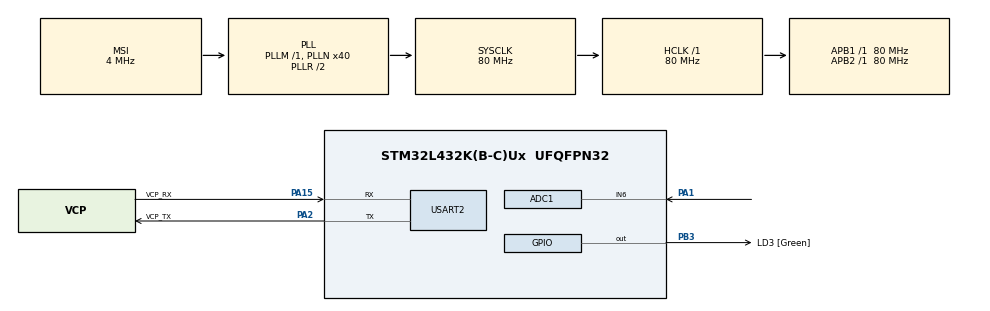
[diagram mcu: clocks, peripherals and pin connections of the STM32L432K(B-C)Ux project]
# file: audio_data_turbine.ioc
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ADC1.Channel-0\#ChannelRegularConversion=ADC_CHANNEL_6
ADC1.NbrOfConversionFlag=1
ADC1.OffsetNumber-0\#ChannelRegularConversion=ADC_OFFSET_NONE
ADC1.Rank-0\#ChannelRegularConversion=1
ADC1.SamplingTime-0\#ChannelRegularConversion=ADC_SAMPLETIME_2CYCLES_5
ADC1.master=1
Mcu.Family=STM32L4
Mcu.Name=STM32L432K(B-C)Ux
Mcu.Package=UFQFPN32
NVIC.PriorityGroup=NVIC_PRIORITYGROUP_4
PA0.GPIO_Label=MCO [High speed clock in]
PA0.Mode=HSE-External-Clock-Source-for-LittleOrca
PA0.Signal=RCC_CK_IN
PA1.Signal=ADCx_IN6
PA13\ (JTMS-SWDIO).GPIO_Label=SWDIO
PA13\ (JTMS-SWDIO).Mode=Serial_Wire
PA13\ (JTMS-SWDIO).Signal=SYS_JTMS-SWDIO
PA14\ (JTCK-SWCLK).GPIO_Label=SWCLK
PA14\ (JTCK-SWCLK).Mode=Serial_Wire
PA14\ (JTCK-SWCLK).Signal=SYS_JTCK-SWCLK
PA15\ (JTDI).GPIO_Label=VCP_RX
PA15\ (JTDI).Mode=Asynchronous
PA15\ (JTDI).Signal=USART2_RX
PA2.GPIO_Label=VCP_TX
PA2.Mode=Asynchronous
PA2.Signal=USART2_TX
PB3\ (JTDO-TRACESWO).GPIO_Label=LD3 [Green]
PB3\ (JTDO-TRACESWO).Signal=GPIO_Output
PC14-OSC32_IN\ (PC14).Mode=LSE-External-Oscillator
PC14-OSC32_IN\ (PC14).Signal=RCC_OSC32_IN
PC15-OSC32_OUT\ (PC15).Mode=LSE-External-Oscillator
PC15-OSC32_OUT\ (PC15).Signal=RCC_OSC32_OUT
ProjectManager.HeapSize=0x200
ProjectManager.StackSize=0x400
ProjectManager.TargetToolchain=STM32CubeIDE
RCC.ADCFreq_Value=32000000
RCC.AHBFreq_Value=80000000
RCC.APB1Freq_Value=80000000
RCC.APB1TimFreq_Value=80000000
RCC.APB2Freq_Value=80000000
RCC.APB2TimFreq_Value=80000000
RCC.CortexFreq_Value=80000000
RCC.HCLKFreq_Value=80000000
RCC.HSE_VALUE=8000000
RCC.HSI16_VALUE=16000000
RCC.HSI48_VALUE=48000000
RCC.HSI_VALUE=16000000
RCC.MSI_VALUE=4000000
RCC.PLLMUL=RCC_PLLMUL_4
RCC.PLLN=40
RCC.PLLSAI1N=16
RCC.SYSCLKFreq_VALUE=80000000
RCC.SYSCLKSource=RCC_SYSCLKSOURCE_PLLCLK
RCC.USBFreq_Value=32000000
RCC.VCOOutputFreq_Value=160000000
SH.ADCx_IN6.0=ADC1_IN6,IN6-Single-Ended
USART2.VirtualMode-Asynchronous=VM_ASYNC
board=NUCLEO-L432KC

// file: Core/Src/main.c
/* USER CODE BEGIN Header */
/**
  ******************************************************************************
  * @file           : main.c
  * @brief          : Main program body
  ******************************************************************************
  * @attention
  *
  * Copyright (c) 2024 STMicroelectronics.
  * All rights reserved.
  *
  * This software is licensed under terms that can be found in the LICENSE file
  * in the root directory of this software component.
  * If no LICENSE file comes with this software, it is provided AS-IS.
  *
  ******************************************************************************
  */
/* USER CODE END Header */
#include "main.h"

/* USER CODE BEGIN Includes */
#include "stdio.h"
/* USER CODE END Includes */

/* USER CODE BEGIN PM */
#define BUFFER_SIZE 256
#define AXIS        1
/* USER CODE END PM */

ADC_HandleTypeDef hadc1;

UART_HandleTypeDef huart2;

/* USER CODE BEGIN PV */
float audio;
float audio_buffer[BUFFER_SIZE * AXIS] = {0};
/* USER CODE END PV */

void SystemClock_Config(void);
static void MX_GPIO_Init(void);
static void MX_USART2_UART_Init(void);
static void MX_ADC1_Init(void);
/* USER CODE BEGIN PFP */
void fill_audio_buffer();
void Log();
/* USER CODE END PFP */

/* USER CODE BEGIN 0 */
void HAL_ADC_ConvCpltCallback(ADC_HandleTypeDef *hadc){
	audio = HAL_ADC_GetValue(&hadc1);
}
/* USER CODE END 0 */

int main(void)
{

  /* MCU Configuration--------------------------------------------------------*/

  /* Reset of all peripherals, Initializes the Flash interface and the Systick. */
  HAL_Init();

  /* Configure the system clock */
  SystemClock_Config();

  /* Initialize all configured peripherals */
  MX_GPIO_Init();
  MX_USART2_UART_Init();
  MX_ADC1_Init();
  /* USER CODE BEGIN 2 */
HAL_ADC_Start_IT(&hadc1);
  /* USER CODE END 2 */

/* Infinite loop */
  /* USER CODE BEGIN WHILE */
  while (1)
  {
	  Log();
    /* USER CODE END WHILE */

  }
}

void SystemClock_Config(void)
{
  RCC_OscInitTypeDef RCC_OscInitStruct = {0};
  RCC_ClkInitTypeDef RCC_ClkInitStruct = {0};

  /** Configure the main internal regulator output voltage
  */
  if (HAL_PWREx_ControlVoltageScaling(PWR_REGULATOR_VOLTAGE_SCALE1) != HAL_OK)
  {
    Error_Handler();
  }

  /** Configure LSE Drive Capability
  */
  HAL_PWR_EnableBkUpAccess();
  __HAL_RCC_LSEDRIVE_CONFIG(RCC_LSEDRIVE_LOW);

  /** Initializes the RCC Oscillators according to the specified parameters
  * in the RCC_OscInitTypeDef structure.
  */
  RCC_OscInitStruct.OscillatorType = RCC_OSCILLATORTYPE_LSE|RCC_OSCILLATORTYPE_MSI;
  RCC_OscInitStruct.LSEState = RCC_LSE_ON;
  RCC_OscInitStruct.MSIState = RCC_MSI_ON;
  RCC_OscInitStruct.MSICalibrationValue = 0;
  RCC_OscInitStruct.MSIClockRange = RCC_MSIRANGE_6;
  RCC_OscInitStruct.PLL.PLLState = RCC_PLL_ON;
  RCC_OscInitStruct.PLL.PLLSource = RCC_PLLSOURCE_MSI;
  RCC_OscInitStruct.PLL.PLLM = 1;
  RCC_OscInitStruct.PLL.PLLN = 40;
  RCC_OscInitStruct.PLL.PLLP = RCC_PLLP_DIV7;
  RCC_OscInitStruct.PLL.PLLQ = RCC_PLLQ_DIV2;
  RCC_OscInitStruct.PLL.PLLR = RCC_PLLR_DIV2;
  if (HAL_RCC_OscConfig(&RCC_OscInitStruct) != HAL_OK)
  {
    Error_Handler();
  }

  /** Initializes the CPU, AHB and APB buses clocks
  */
  RCC_ClkInitStruct.ClockType = RCC_CLOCKTYPE_HCLK|RCC_CLOCKTYPE_SYSCLK
                              |RCC_CLOCKTYPE_PCLK1|RCC_CLOCKTYPE_PCLK2;
  RCC_ClkInitStruct.SYSCLKSource = RCC_SYSCLKSOURCE_PLLCLK;
  RCC_ClkInitStruct.AHBCLKDivider = RCC_SYSCLK_DIV1;
  RCC_ClkInitStruct.APB1CLKDivider = RCC_HCLK_DIV1;
  RCC_ClkInitStruct.APB2CLKDivider = RCC_HCLK_DIV1;

  if (HAL_RCC_ClockConfig(&RCC_ClkInitStruct, FLASH_LATENCY_4) != HAL_OK)
  {
    Error_Handler();
  }

  /** Enable MSI Auto calibration
  */
  HAL_RCCEx_EnableMSIPLLMode();
}

static void MX_ADC1_Init(void)
{

  ADC_ChannelConfTypeDef sConfig = {0};

  /** Common config
  */
  hadc1.Instance = ADC1;
  hadc1.Init.ClockPrescaler = ADC_CLOCK_ASYNC_DIV16;
  hadc1.Init.Resolution = ADC_RESOLUTION_12B;
  hadc1.Init.DataAlign = ADC_DATAALIGN_RIGHT;
  hadc1.Init.ScanConvMode = ADC_SCAN_DISABLE;
  hadc1.Init.EOCSelection = ADC_EOC_SINGLE_CONV;
  hadc1.Init.LowPowerAutoWait = DISABLE;
  hadc1.Init.ContinuousConvMode = ENABLE;
  hadc1.Init.NbrOfConversion = 1;
  hadc1.Init.DiscontinuousConvMode = DISABLE;
  hadc1.Init.ExternalTrigConv = ADC_SOFTWARE_START;
  hadc1.Init.ExternalTrigConvEdge = ADC_EXTERNALTRIGCONVEDGE_NONE;
  hadc1.Init.DMAContinuousRequests = DISABLE;
  hadc1.Init.Overrun = ADC_OVR_DATA_PRESERVED;
  hadc1.Init.OversamplingMode = DISABLE;
  if (HAL_ADC_Init(&hadc1) != HAL_OK)
  {
    Error_Handler();
  }

  /** Configure Regular Channel
  */
  sConfig.Channel = ADC_CHANNEL_6;
  sConfig.Rank = ADC_REGULAR_RANK_1;
  sConfig.SamplingTime = ADC_SAMPLETIME_2CYCLES_5;
  sConfig.SingleDiff = ADC_SINGLE_ENDED;
  sConfig.OffsetNumber = ADC_OFFSET_NONE;
  sConfig.Offset = 0;
  if (HAL_ADC_ConfigChannel(&hadc1, &sConfig) != HAL_OK)
  {
    Error_Handler();
  }

}

static void MX_USART2_UART_Init(void)
{

  huart2.Instance = USART2;
  huart2.Init.BaudRate = 115200;
  huart2.Init.WordLength = UART_WORDLENGTH_8B;
  huart2.Init.StopBits = UART_STOPBITS_1;
  huart2.Init.Parity = UART_PARITY_NONE;
  huart2.Init.Mode = UART_MODE_TX_RX;
  huart2.Init.HwFlowCtl = UART_HWCONTROL_NONE;
  huart2.Init.OverSampling = UART_OVERSAMPLING_16;
  huart2.Init.OneBitSampling = UART_ONE_BIT_SAMPLE_DISABLE;
  huart2.AdvancedInit.AdvFeatureInit = UART_ADVFEATURE_NO_INIT;
  if (HAL_UART_Init(&huart2) != HAL_OK)
  {
    Error_Handler();
  }

}

static void MX_GPIO_Init(void)
{
  GPIO_InitTypeDef GPIO_InitStruct = {0};

  /* GPIO Ports Clock Enable */
  __HAL_RCC_GPIOC_CLK_ENABLE();
  __HAL_RCC_GPIOA_CLK_ENABLE();
  __HAL_RCC_GPIOB_CLK_ENABLE();

  /*Configure GPIO pin Output Level */
  HAL_GPIO_WritePin(LD3_GPIO_Port, LD3_Pin, GPIO_PIN_RESET);

  /*Configure GPIO pin : LD3_Pin */
  GPIO_InitStruct.Pin = LD3_Pin;
  GPIO_InitStruct.Mode = GPIO_MODE_OUTPUT_PP;
  GPIO_InitStruct.Pull = GPIO_NOPULL;
  GPIO_InitStruct.Speed = GPIO_SPEED_FREQ_LOW;
  HAL_GPIO_Init(LD3_GPIO_Port, &GPIO_InitStruct);

}

/* USER CODE BEGIN 4 */
void fill_audio_buffer(){
	for(int i = 0; i < BUFFER_SIZE; i++){
		audio_buffer[i * AXIS] = audio;
		HAL_Delay(3);
	}
}

void Log(){
	fill_audio_buffer();
	for(int i = 0; i < BUFFER_SIZE; i++){
		printf("%.2f",audio_buffer[i * AXIS]);
		printf(" ");
	}
	printf("\r\n");
}
int __io_putchar(int ch){
	HAL_UART_Transmit(&huart2, (uint8_t *)&ch, 1, HAL_MAX_DELAY);
	return ch;
}

/* USER CODE END 4 */

void Error_Handler(void)
{
  __disable_irq();
  while (1)
  {
  }
}
